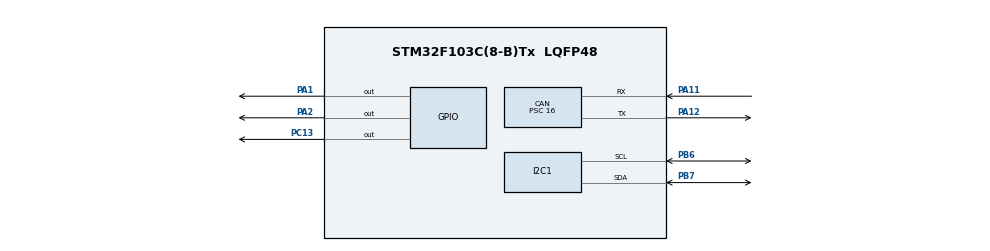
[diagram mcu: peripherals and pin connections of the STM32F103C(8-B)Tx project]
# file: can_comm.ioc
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CAN.BS1=CAN_BS1_2TQ
CAN.BS2=CAN_BS2_2TQ
CAN.CalculateBaudRate=100000
CAN.CalculateTimeBit=10000
CAN.CalculateTimeQuantum=2000.0
CAN.NART=ENABLE
CAN.Prescaler=16
I2C1.I2C_Mode=I2C_Fast
Mcu.Family=STM32F1
Mcu.Name=STM32F103C(8-B)Tx
Mcu.Package=LQFP48
NVIC.PriorityGroup=NVIC_PRIORITYGROUP_4
NVIC.USB_LP_CAN1_RX0_IRQn=true\:0\:0\:false\:false\:true\:true\:true\:true
PA1.Signal=GPIO_Output
PA11.Mode=CAN_Activate
PA11.Signal=CAN_RX
PA12.Mode=CAN_Activate
PA12.Signal=CAN_TX
PA13.Mode=Serial_Wire
PA13.Signal=SYS_JTMS-SWDIO
PA14.Mode=Serial_Wire
PA14.Signal=SYS_JTCK-SWCLK
PA2.Signal=GPIO_Output
PB6.Mode=I2C
PB6.Signal=I2C1_SCL
PB7.Mode=I2C
PB7.Signal=I2C1_SDA
PC13-TAMPER-RTC.Signal=GPIO_Output
PD0-OSC_IN.Mode=HSE-External-Oscillator
PD0-OSC_IN.Signal=RCC_OSC_IN
PD1-OSC_OUT.Mode=HSE-External-Oscillator
PD1-OSC_OUT.Signal=RCC_OSC_OUT
ProjectManager.HeapSize=0x200
ProjectManager.StackSize=0x400
ProjectManager.TargetToolchain=STM32CubeIDE
RCC.APB1Freq_Value=8000000
RCC.APB1TimFreq_Value=8000000
RCC.APB2Freq_Value=8000000
RCC.APB2TimFreq_Value=8000000
RCC.SYSCLKSource=RCC_SYSCLKSOURCE_HSE
board=custom

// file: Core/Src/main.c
/* USER CODE BEGIN Header */
/**
  ******************************************************************************
  * @file           : main.c
  * @brief          : Main program body
  ******************************************************************************
  * @attention
  *
  * Copyright (c) 2023 STMicroelectronics.
  * All rights reserved.
  *
  * This software is licensed under terms that can be found in the LICENSE file
  * in the root directory of this software component.
  * If no LICENSE file comes with this software, it is provided AS-IS.
  *
  ******************************************************************************
  */
/* USER CODE END Header */
#include "main.h"

/* USER CODE BEGIN PTD */

typedef enum
{
	APP_STATE_NORMAL 	=	 0		,
	APP_STATE_SENDING_UPDATE		,
	APP_STATE_TOTAL
}en_app_state_t;

/* USER CODE END PTD */

CAN_HandleTypeDef hcan;

I2C_HandleTypeDef hi2c1;

/* USER CODE BEGIN PV */

/* application current state */
en_app_state_t en_gs_app_state = APP_STATE_NORMAL;

/* USER CODE END PV */

void SystemClock_Config(void);
static void MX_GPIO_Init(void);
static void MX_CAN_Init(void);
static void MX_I2C1_Init(void);
/* USER CODE BEGIN PFP */
static void app_fill_array_with_str(uint8_t * u8ptr_array, uint8_t * u8ptr_a_str);
static void app_tx_over_can(uint8_t * msg);
static void app_tx_number_over_can(uint32_t number);
static boolean app_check_command_match(uint8_t * array, uint8_t * command);
static void app_switch_state(en_app_state_t en_a_app_state);
/* USER CODE END PFP */

/* USER CODE BEGIN 0 */

CAN_TxHeaderTypeDef TxHeader;
CAN_RxHeaderTypeDef RxHeader;
CAN_FilterTypeDef FilterConfig; //declare CAN filter structure

uint8_t RxData[8];

uint32_t TxMailbox;
uint8_t mailbox_free_level;
uint32_t rx_fifo_level;

/* Converter union for TxData */
union
{
	uint8_t TxData[APP_TX_DATA_LENGTH];	// Transmit buffer
	uint32_t u32_Tx_Number;
}un_gs_TxConv;

#define CAN_TX_CHUNK_SIZE_IN_WORDS 256 // Word = 32 bit

void HAL_CAN_RxFifo0MsgPendingCallback(CAN_HandleTypeDef *hcan)
{
	// Toggle receive led status
	HAL_GPIO_TogglePin(APP_LED_RX_CAN_ARGS);

	// Receive Message
	HAL_CAN_GetRxMessage(hcan, CAN_RX_FIFO0, &RxHeader, RxData);

	if(TRUE == app_check_command_match(RxData, APP_CAN_RESP_CHECK_FOR_UPDATE))
	{
		/* Respond with OK update available */
		app_tx_over_can(APP_CAN_CMD_OK_UPDATE);
	}
	else if(TRUE == app_check_command_match(RxData, APP_CAN_RESP_GET_UPDATE_SIZE))
	{
		/* Send Update Size */
		app_tx_number_over_can(APP_UPDATE_SIZE);
	}
	else if(TRUE == app_check_command_match(RxData, APP_CAN_RESP_START_UPDATE))
	{
		/* Update app state to send update */
		en_gs_app_state = APP_STATE_SENDING_UPDATE;
	}

}

/* USER CODE END 0 */

int main(void)
{
  /* USER CODE BEGIN 1 */
//	int sent_flag = TRUE;
//	int flash_done = FALSE;
  /* USER CODE END 1 */

  /* MCU Configuration--------------------------------------------------------*/

  /* Reset of all peripherals, Initializes the Flash interface and the Systick. */
  HAL_Init();

  /* USER CODE BEGIN Init */

  // Init OLED
  SSD1306_Init();
  SSD1306_Clear();
  SSD1306_GotoXY(0, 0);

  SSD1306_Println("TEST EME");
//  SSD1306_Puts ("API!", &Font_11x18, 1);
  SSD1306_UpdateScreen();

  /* USER CODE END Init */

  /* Configure the system clock */
  SystemClock_Config();

  /* Initialize all configured peripherals */
  MX_GPIO_Init();
  MX_CAN_Init();
  MX_I2C1_Init();
  /* USER CODE BEGIN 2 */

   TxHeader.DLC=8; //give message size of 8 byte
   TxHeader.IDE=CAN_ID_STD; //set identifier to standard
   TxHeader.RTR=CAN_RTR_DATA; //set data type to remote transmission request?
   TxHeader.StdId=APP_CAN_TX_MSG_ID; //define a standard identifier, used for message identification by filters (switch this for the other microcontroller)

   /* Configure CAN Receiving Filter */
	 /* set FIFO assignment */
	 FilterConfig.FilterFIFOAssignment = CAN_FILTER_FIFO0;
	 /* 0x245<<5; the ID that the filter looks for: Zero to pass all IDs */
	 FilterConfig.FilterIdHigh = 0;
	 FilterConfig.FilterIdLow = 0;
	 FilterConfig.FilterMaskIdHigh = 0;
	 FilterConfig.FilterMaskIdLow = 0;

	 /* Set Filter Scale */
	 FilterConfig.FilterScale = CAN_FILTERSCALE_32BIT; //set filter scale

	 /* Enable Filter */
	 FilterConfig.FilterActivation = ENABLE;

	 /* Configure CAN Filter */
	 HAL_CAN_ConfigFilter(&hcan, &FilterConfig); //configure CAN filter

   HAL_CAN_Start(&hcan); //start CAN

   HAL_CAN_ActivateNotification(&hcan, CAN_IT_RX_FIFO0_MSG_PENDING);

	HAL_GPIO_TogglePin(GPIOA, GPIO_PIN_2);
	HAL_GPIO_TogglePin(GPIOC, GPIO_PIN_13);

	uint32_t sent_data_count_cpy = ZERO;
	uint32_t sent_data_count = ZERO;
	uint32_t next_send_index = ZERO;
	/* Number of 8-bytes chunks to be sent */
	uint32_t arr_chunks_count = ZERO;

	HAL_StatusTypeDef can_status_retval;
	unsigned int k = 0;
  /* USER CODE END 2 */

  /* Infinite loop */
  /* USER CODE BEGIN WHILE */
  while (1)
  {

	  if(APP_STATE_SENDING_UPDATE == en_gs_app_state)
	  {

		  /* Upload Data Startup Delay */
		  HAL_Delay(APP_PRE_UPLOAD_UPDATE_DATA_DELAY);

		  // Check TX Mailbox free space
		  mailbox_free_level = HAL_CAN_GetTxMailboxesFreeLevel(&hcan);

		  // reset count
		  sent_data_count = 0;
		  arr_chunks_count = ARR_SIZE(update_data_array) / APP_TX_DATA_LENGTH;

		  while(sent_data_count < arr_chunks_count)
		  {
		//		  		  SSD1306_Println("sending chunk: %i", sent_data_count);
		//		  		   SSD1306_UpdateScreen();

			  // check mailbox
			  mailbox_free_level = HAL_CAN_GetTxMailboxesFreeLevel(&hcan);

			  // wait until a free CAN mailbox is available
			  while(ZERO == mailbox_free_level)
			  {
				  // re-check mailbox status
				  mailbox_free_level = HAL_CAN_GetTxMailboxesFreeLevel(&hcan);
			  }

			  HAL_GPIO_TogglePin(APP_LED_TX_CAN_ARGS);

			  // free space in mailbox, send next data
			  for (k = 0; k < 8; ++k)
			  {
				  next_send_index = (k + (sent_data_count * 8));

				  un_gs_TxConv.TxData[k] = update_data_array[next_send_index];
			  }

			  can_status_retval = HAL_CAN_AddTxMessage(&hcan, &TxHeader, un_gs_TxConv.TxData, &TxMailbox);

			  // Tx Check
			  if(HAL_OK == can_status_retval)
			  {
				  // send next
				  sent_data_count++;
				  sent_data_count_cpy++;
			  }
			  else
			  {
				  // re-transmit
			  }
		  }

		  // Sending Done - Clear Flags
		  en_gs_app_state = APP_STATE_NORMAL;
		  sent_data_count = ZERO;
		  next_send_index = ZERO;
	  }
	  else
	  {
		  /* IDLE */
	  }

    /* USER CODE END WHILE */

  }
}

void SystemClock_Config(void)
{
  RCC_OscInitTypeDef RCC_OscInitStruct = {0};
  RCC_ClkInitTypeDef RCC_ClkInitStruct = {0};

  /** Initializes the RCC Oscillators according to the specified parameters
  * in the RCC_OscInitTypeDef structure.
  */
  RCC_OscInitStruct.OscillatorType = RCC_OSCILLATORTYPE_HSE;
  RCC_OscInitStruct.HSEState = RCC_HSE_ON;
  RCC_OscInitStruct.PLL.PLLState = RCC_PLL_NONE;
  if (HAL_RCC_OscConfig(&RCC_OscInitStruct) != HAL_OK)
  {
    Error_Handler();
  }

  /** Initializes the CPU, AHB and APB buses clocks
  */
  RCC_ClkInitStruct.ClockType = RCC_CLOCKTYPE_HCLK|RCC_CLOCKTYPE_SYSCLK
                              |RCC_CLOCKTYPE_PCLK1|RCC_CLOCKTYPE_PCLK2;
  RCC_ClkInitStruct.SYSCLKSource = RCC_SYSCLKSOURCE_HSE;
  RCC_ClkInitStruct.AHBCLKDivider = RCC_SYSCLK_DIV1;
  RCC_ClkInitStruct.APB1CLKDivider = RCC_HCLK_DIV1;
  RCC_ClkInitStruct.APB2CLKDivider = RCC_HCLK_DIV1;

  if (HAL_RCC_ClockConfig(&RCC_ClkInitStruct, FLASH_LATENCY_0) != HAL_OK)
  {
    Error_Handler();
  }
}

static void MX_CAN_Init(void)
{

  hcan.Instance = CAN1;
  hcan.Init.Prescaler = 16;
  hcan.Init.Mode = CAN_MODE_NORMAL;
  hcan.Init.SyncJumpWidth = CAN_SJW_1TQ;
  hcan.Init.TimeSeg1 = CAN_BS1_2TQ;
  hcan.Init.TimeSeg2 = CAN_BS2_2TQ;
  hcan.Init.TimeTriggeredMode = DISABLE;
  hcan.Init.AutoBusOff = DISABLE;
  hcan.Init.AutoWakeUp = DISABLE;
  hcan.Init.AutoRetransmission = ENABLE;
  hcan.Init.ReceiveFifoLocked = DISABLE;
  hcan.Init.TransmitFifoPriority = ENABLE;
  if (HAL_CAN_Init(&hcan) != HAL_OK)
  {
    Error_Handler();
  }

}

static void MX_I2C1_Init(void)
{

  hi2c1.Instance = I2C1;
  hi2c1.Init.ClockSpeed = 400000;
  hi2c1.Init.DutyCycle = I2C_DUTYCYCLE_2;
  hi2c1.Init.OwnAddress1 = 0;
  hi2c1.Init.AddressingMode = I2C_ADDRESSINGMODE_7BIT;
  hi2c1.Init.DualAddressMode = I2C_DUALADDRESS_DISABLE;
  hi2c1.Init.OwnAddress2 = 0;
  hi2c1.Init.GeneralCallMode = I2C_GENERALCALL_DISABLE;
  hi2c1.Init.NoStretchMode = I2C_NOSTRETCH_DISABLE;
  if (HAL_I2C_Init(&hi2c1) != HAL_OK)
  {
    Error_Handler();
  }

}

static void MX_GPIO_Init(void)
{
  GPIO_InitTypeDef GPIO_InitStruct = {0};

  /* GPIO Ports Clock Enable */
  __HAL_RCC_GPIOC_CLK_ENABLE();
  __HAL_RCC_GPIOD_CLK_ENABLE();
  __HAL_RCC_GPIOA_CLK_ENABLE();
  __HAL_RCC_GPIOB_CLK_ENABLE();

  /*Configure GPIO pin Output Level */
  HAL_GPIO_WritePin(GPIOC, GPIO_PIN_13, GPIO_PIN_RESET);

  /*Configure GPIO pin Output Level */
  HAL_GPIO_WritePin(GPIOA, GPIO_PIN_1|GPIO_PIN_2, GPIO_PIN_RESET);

  /*Configure GPIO pin : PC13 */
  GPIO_InitStruct.Pin = GPIO_PIN_13;
  GPIO_InitStruct.Mode = GPIO_MODE_OUTPUT_PP;
  GPIO_InitStruct.Pull = GPIO_NOPULL;
  GPIO_InitStruct.Speed = GPIO_SPEED_FREQ_LOW;
  HAL_GPIO_Init(GPIOC, &GPIO_InitStruct);

  /*Configure GPIO pins : PA1 PA2 */
  GPIO_InitStruct.Pin = GPIO_PIN_1|GPIO_PIN_2;
  GPIO_InitStruct.Mode = GPIO_MODE_OUTPUT_PP;
  GPIO_InitStruct.Pull = GPIO_NOPULL;
  GPIO_InitStruct.Speed = GPIO_SPEED_FREQ_LOW;
  HAL_GPIO_Init(GPIOA, &GPIO_InitStruct);

}

/* USER CODE BEGIN 4 */

static void app_tx_over_can(uint8_t * msg)
{
	/* CAN Mailbox free level */
	uint8_t mailbox_free_level;

	mailbox_free_level = HAL_CAN_GetTxMailboxesFreeLevel(&hcan);

	/* Block wait until there's a free mailbox */
	while(ZERO == mailbox_free_level)
	{
		/* Re-check mailbox free level */
		mailbox_free_level = HAL_CAN_GetTxMailboxesFreeLevel(&hcan);
	}

	TxHeader.StdId = APP_CAN_TX_MSG_ID;
	TxHeader.DLC = APP_TX_DATA_LENGTH;

	/* free space in mailbox */

	/* Fill CAN TxData buffer with CMD */
	app_fill_array_with_str(un_gs_TxConv.TxData, msg);

	/* Add Message to CAN Tx */
	HAL_CAN_AddTxMessage(&hcan, &TxHeader, un_gs_TxConv.TxData, &TxMailbox);

	/* Toggle TX LED indicator */
	HAL_GPIO_TogglePin(APP_LED_TX_CAN_ARGS);
}

/* Checks if an array holds the same data as the str command */
static boolean app_check_command_match(uint8_t * array, uint8_t * command)
{
    boolean retval = TRUE;

    for (int i = 0; i < APP_TX_DATA_LENGTH; ++i)
    {
        if(array[i] != command[i])
        {
            retval = FALSE;
            break;
        }
    }

    return retval;
}

/* Transmits a Uint32_t number over CAN */
static void app_tx_number_over_can(uint32_t number)
{
	/* CAN Mailbox free level */
	uint8_t mailbox_free_level;

	mailbox_free_level = HAL_CAN_GetTxMailboxesFreeLevel(&hcan);

	/* Block wait until there's a free mailbox */
	while(ZERO == mailbox_free_level)
	{
		/* Re-check mailbox free level */
		mailbox_free_level = HAL_CAN_GetTxMailboxesFreeLevel(&hcan);
	}

	un_gs_TxConv.u32_Tx_Number = number;

	TxHeader.StdId = APP_CAN_TX_MSG_ID;
	TxHeader.DLC = APP_TX_DATA_LENGTH;

	/* Add Message to CAN Tx */
	HAL_CAN_AddTxMessage(&hcan, &TxHeader, un_gs_TxConv.TxData, &TxMailbox);

	/* Toggle TX LED indicator */
	HAL_GPIO_TogglePin(APP_LED_TX_CAN_ARGS);
}

static void app_switch_state(en_app_state_t en_a_app_state)
{

    /* Update global app state */
    en_gs_app_state = en_a_app_state;
}

/* Fills an array of APP_TX_DATA_LENGTH bytes with an APP_TX_DATA_LENGTH byte string */
static void app_fill_array_with_str(uint8_t * u8ptr_array, uint8_t * u8ptr_a_str)
{
	uint8_t var;

	if(
			(NULL_PTR != u8ptr_array) &&
			(NULL_PTR != u8ptr_a_str)
		)
	{
		for (var = 0; var < APP_TX_DATA_LENGTH; ++var)
		{
			u8ptr_array[var] = u8ptr_a_str[var];
		}
	}
	else
	{
		/* Cancel */
	}
}
/* USER CODE END 4 */

void Error_Handler(void)
{
  __disable_irq();
  while (1)
  {
  }
}
